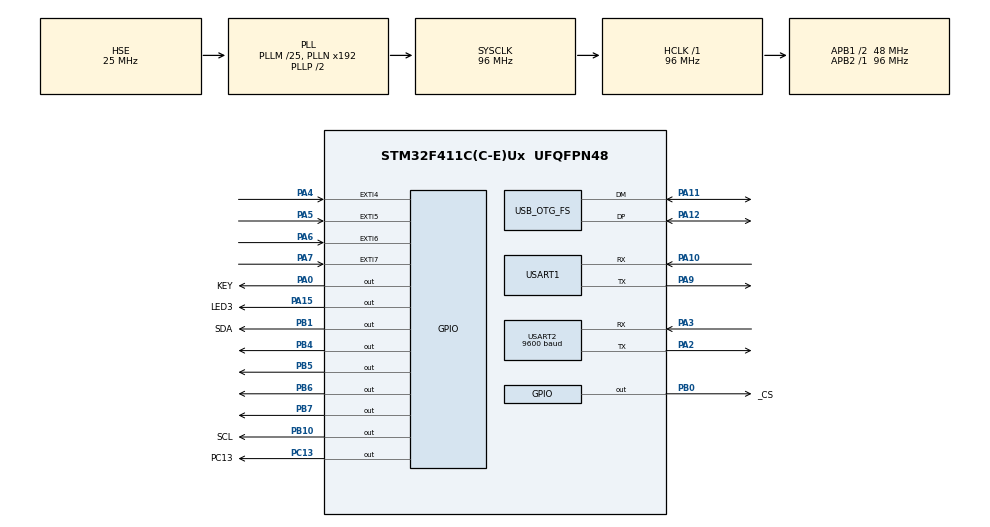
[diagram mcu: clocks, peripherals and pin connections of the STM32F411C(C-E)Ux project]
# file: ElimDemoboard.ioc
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Mcu.Family=STM32F4
PB10.PinState=GPIO_PIN_SET
USB_DEVICE.CLASS_NAME_FS=CDC
RCC.CortexFreq_Value=96000000
PB10.GPIO_Speed=GPIO_SPEED_FREQ_HIGH
PA11.Mode=Device_Only
PB0.GPIO_Label=_CS
RCC.SYSCLKSource=RCC_SYSCLKSOURCE_PLLCLK
ProjectManager.StackSize=0x400
PA15.GPIO_Label=LED3
PB10.GPIO_ModeDefaultOutputPP=GPIO_MODE_OUTPUT_OD
PA12.Signal=USB_OTG_FS_DP
PH0\ -\ OSC_IN.Signal=RCC_OSC_IN
PB0.PinState=GPIO_PIN_SET
RCC.HCLKFreq_Value=96000000
RCC.APB2TimFreq_Value=96000000
PB6.Signal=GPIO_Output
RCC.AHBFreq_Value=96000000
RCC.HSE_VALUE=25000000
PA4.GPIO_PuPd=GPIO_PULLUP
PC13-ANTI_TAMP.Signal=GPIO_Output
USART2.OverSampling=UART_OVERSAMPLING_16
PA6.GPIO_PuPd=GPIO_PULLUP
PC14-OSC32_IN.Mode=LSE-External-Oscillator
PB1.GPIO_Speed=GPIO_SPEED_FREQ_HIGH
PA14.Mode=Serial_Wire
VP_SYS_VS_tim1.Mode=TIM1
PA5.GPIO_PuPd=GPIO_PULLUP
PB1.GPIO_Label=SDA
NVIC.TIM2_IRQn=true\:0\:0\:false\:false\:true\:true\:true
PB7.Signal=GPIO_Output
PB1.PinState=GPIO_PIN_SET
Mcu.Package=UFQFPN48
TIM2.Prescaler=999
PB1.Signal=GPIO_Output
PA6.Signal=GPXTI6
NVIC.TimeBase=TIM1_UP_TIM10_IRQn
USART2.VirtualMode=VM_ASYNC
NVIC.OTG_FS_IRQn=true\:0\:0\:false\:false\:true\:false\:true
NVIC.TimeBaseIP=TIM1
PA10.Signal=USART1_RX
USB_OTG_FS.VirtualMode=Device_Only
PA15.Signal=GPIO_Output
USART2.WordLength=WORDLENGTH_8B
RCC.APB1TimFreq_Value=96000000
PB0.GPIO_ModeDefaultOutputPP=GPIO_MODE_OUTPUT_OD
PB4.Signal=GPIO_Output
PA3.Signal=USART2_RX
PC15-OSC32_OUT.Mode=LSE-External-Oscillator
PA0-WKUP.GPIO_ModeDefaultOutputPP=GPIO_MODE_OUTPUT_OD
NVIC.EXTI4_IRQn=true\:0\:0\:false\:false\:true\:true\:true
PA5.GPIO_ModeDefaultEXTI=GPIO_MODE_IT_RISING_FALLING
PA6.GPIO_ModeDefaultEXTI=GPIO_MODE_IT_RISING_FALLING
PA10.Mode=Asynchronous
USB_DEVICE.VirtualModeFS=Cdc_FS
PC13-ANTI_TAMP.GPIO_Label=PC13
PH1\ -\ OSC_OUT.Mode=HSE-External-Oscillator
PA7.GPIO_ModeDefaultEXTI=GPIO_MODE_IT_RISING_FALLING
RCC.APB1CLKDivider=RCC_HCLK_DIV2
PC14-OSC32_IN.Signal=RCC_OSC32_IN
NVIC.USART2_IRQn=true\:0\:0\:false\:false\:true\:true\:true
USART2.BaudRate=9600
PA0-WKUP.GPIO_Label=KEY
PA0-WKUP.Signal=GPIO_Output
PA3.Mode=Asynchronous
PA13.Signal=SYS_JTMS-SWDIO
PA9.Mode=Asynchronous
PH0\ -\ OSC_IN.Mode=HSE-External-Oscillator
ProjectManager.TargetToolchain=MDK-ARM V5
USB_DEVICE.PRODUCT_STRING_CDC_FS=ElimCaliBoard
PB10.GPIO_Label=SCL
VP_USB_DEVICE_VS_USB_DEVICE_CDC_FS.Mode=CDC_FS
PA9.Signal=USART1_TX
PA4.GPIO_ModeDefaultEXTI=GPIO_MODE_IT_RISING_FALLING
PC15-OSC32_OUT.Signal=RCC_OSC32_OUT
PA7.GPIO_PuPd=GPIO_PULLUP
PB10.Signal=GPIO_Output
PA5.Signal=GPXTI5
PH1\ -\ OSC_OUT.Signal=RCC_OSC_OUT
board=custom
RCC.VCOOutputFreq_Value=192000000
PA0-WKUP.PinState=GPIO_PIN_SET
RCC.APB2Freq_Value=96000000
VP_TIM2_VS_ClockSourceINT.Mode=Internal
TIM2.Period=1999
PA13.Mode=Serial_Wire
Mcu.Name=STM32F411C(C-E)Ux
PA2.Signal=USART2_TX
RCC.48MHZClocksFreq_Value=48000000
PA4.Signal=GPXTI4
RCC.SYSCLKFreq_VALUE=96000000
PB5.Signal=GPIO_Output
PA12.Mode=Device_Only
USART1.VirtualMode=VM_ASYNC
PA11.Signal=USB_OTG_FS_DM
NVIC.EXTI9_5_IRQn=true\:0\:0\:false\:false\:true\:true\:true
PA14.Signal=SYS_JTCK-SWCLK
ProjectManager.HeapSize=0x400
NVIC.TIM1_UP_TIM10_IRQn=true\:0\:0\:false\:false\:true\:false\:true
RCC.HSI_VALUE=16000000
NVIC.PriorityGroup=NVIC_PRIORITYGROUP_4
RCC.PLLM=25
PA2.Mode=Asynchronous
PA0-WKUP.GPIO_PuPd=GPIO_PULLUP
PB1.GPIO_ModeDefaultOutputPP=GPIO_MODE_OUTPUT_OD
RCC.APB1Freq_Value=48000000
USART2.Mode=MODE_TX_RX
PB0.Signal=GPIO_Output
USB_DEVICE.VirtualMode=Cdc
PA7.Signal=GPXTI7

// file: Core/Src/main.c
/* USER CODE BEGIN Header */
/**
  ******************************************************************************
  * @file           : main.c
  * @brief          : Main program body
  ******************************************************************************
  * @attention
  *
  * <h2><center>&copy; Copyright (c) 2020 STMicroelectronics.
  * All rights reserved.</center></h2>
  *
  * This software component is licensed by ST under Ultimate Liberty license
  * SLA0044, the "License"; You may not use this file except in compliance with
  * the License. You may obtain a copy of the License at:
  *                             www.st.com/SLA0044
  *
  ******************************************************************************
  */
/* USER CODE END Header */
#include "main.h"
#include "usb_device.h"

/* USER CODE BEGIN Includes */
#include "usbd_cdc_if.h"
#include "command.h"
#include "iic.h"

/* USER CODE END Includes */

/* USER CODE BEGIN PTD */
#define USB_DATA_BUFFER_SIZE    123

typedef enum {
    ELIM_ERR_NONE = IIC_ERR_NONE,
    ELIM_ERR_NO_ACK = IIC_ERR_NO_ACK,
    ELIM_ERR_OVER_LOAD = IIC_ERR_OVER_LOAD,
    ELIM_ERR_TIMEOUT = (uint16_t) (-3),
    ELIM_ERR_BUSY = (uint16_t) (-4),
} ELIMError;

typedef struct {
    uint16_t        code;
    uint8_t         data[7];
} IicResult;

/* USER CODE END PTD */

/* USER CODE BEGIN PD */
#define RESP_ERR_NO_ACK         response_error("no ACK error")
#define RESP_ERR_OVER_LOAD      response_error("power over load error")
#define RESP_ERR_TIMEOUT        resp_err_timeout()
#define RESP_ERR_BUSY           response_error("busy")
#define RETRY                   80

#define TURN_ON_D2_RED          HAL_GPIO_WritePin(GPIOB, GPIO_PIN_4, GPIO_PIN_RESET)
#define TURN_ON_D3_GREEN        HAL_GPIO_WritePin(GPIOB, GPIO_PIN_7, GPIO_PIN_RESET)
#define TURN_ON_D4_BLUE         HAL_GPIO_WritePin(GPIOB, GPIO_PIN_5, GPIO_PIN_RESET)
#define TURN_ON_D5_ORANGE       HAL_GPIO_WritePin(GPIOB, GPIO_PIN_6, GPIO_PIN_RESET)
#define TURN_ON_PC13            HAL_GPIO_WritePin(GPIOC, GPIO_PIN_13, GPIO_PIN_RESET)

#define TURN_OFF_D2_RED          HAL_GPIO_WritePin(GPIOB, GPIO_PIN_4, GPIO_PIN_SET)
#define TURN_OFF_D3_GREEN        HAL_GPIO_WritePin(GPIOB, GPIO_PIN_7, GPIO_PIN_SET)
#define TURN_OFF_D4_BLUE         HAL_GPIO_WritePin(GPIOB, GPIO_PIN_5, GPIO_PIN_SET)
#define TURN_OFF_D5_ORANGE       HAL_GPIO_WritePin(GPIOB, GPIO_PIN_6, GPIO_PIN_SET)
#define TURN_OFF_PC13            HAL_GPIO_WritePin(GPIOC, GPIO_PIN_13, GPIO_PIN_SET)

/* USER CODE END PD */

TIM_HandleTypeDef htim2;

UART_HandleTypeDef huart1;
UART_HandleTypeDef huart2;

/* USER CODE BEGIN PV */

uint8_t elim_addr = 0x5E;
IicHandle iic;
uint8_t sensor_status;
static __IO uint8_t evt_usb = 0;
static __IO uint32_t elim_deactive_clk = 0;
uint8_t led_off_count =0;
/* USER CODE END PV */

void SystemClock_Config(void);
static void MX_GPIO_Init(void);
static void MX_USART1_UART_Init(void);
static void MX_USART2_UART_Init(void);
static void MX_TIM2_Init(void);

/* USER CODE BEGIN 0 */
int fputc(int ch, FILE *f)
{
    /* Place your implementation of fputc here */
    /*  */
    HAL_UART_Transmit(&huart1, (uint8_t *) &ch, 1, 0xFFFF);

    return ch;
}

void active_elim()
{
    elim_deactive_clk = HAL_GetTick() + 5000;
    HAL_GPIO_WritePin(_CS_GPIO_Port, _CS_Pin, GPIO_PIN_RESET);

    HAL_Delay(5);
}

void deactive_elim()
{
    uint32_t t = HAL_GetTick();

    if (elim_deactive_clk && t > elim_deactive_clk) {
        elim_deactive_clk = 0;
        HAL_GPIO_WritePin(_CS_GPIO_Port, _CS_Pin, GPIO_PIN_SET);
    }
}

__STATIC_INLINE void transmit_resp(uint8_t * data, uint16_t bytes)
{
    uint32_t clk = HAL_GetTick() + 500;
    while(HAL_GetTick() < clk){
        if(CDC_Transmit_FS(data, bytes) == USBD_OK){
            break;
        }
    }
}

void response_data(uint8_t * data, uint16_t size)
{
    uint8_t buf[32];
    uint8_t bytes = 0;
;

    sprintf((char *) buf, "$%d\r\n", size);
    bytes = strlen((char *)buf);

    memcpy(buf + bytes, data, size);
    bytes += size;

    strcpy((char *)buf + bytes, "\r\n");
    bytes += 2;
    transmit_resp(buf, bytes);
}

void response_ok()
{
    transmit_resp((uint8_t *) "+ok\r\n", 5);
}

void response_error(char * what)
{
    char resp[64];

    sprintf(resp, "-%s\r\n", what);
    transmit_resp((uint8_t *) resp, strlen(resp));
}

__STATIC_INLINE void resp_err_timeout()
{
    char err_text[32];

    sprintf(err_text, "timeout, status:%02X", sensor_status);
    response_error(err_text);
}

uint32_t text_2_number(uint8_t * text)
{
    uint32_t val = 0;

    for (; *text; text++) {
        if (*text >= '1' && *text <= '9') {
            val = val * 10 + *text - '1' + 1;
        }
        else if (*text == '0') {
            if (val == 0) {
                return 0;
            }
            else {
                val = val * 10;
            }
        }
        else {
            return 0;
        }
    }

    return val;
}

__STATIC_INLINE uint16_t elim_read_status(IicHandle * hi2c)
{

    return iic_read(elim_addr | 0x01, &sensor_status, 1, hi2c);
}

static uint8_t elim_wait_ready(IicHandle * hi2c)
{
    uint8_t ret = 0;
    int i = 0;

    while (1) {
        ret = elim_read_status(hi2c);

        if (ret == IIC_ERR_NONE && (sensor_status & 0x01) == 0) {
            // busy bit is cleared, chip is ready
            printf("check status:%d\r\n", sensor_status);
            break;
        }

        i++;

        if (i > RETRY) {
            ret = 1;
            break;
        }
        else
            // delay_us(250);
            HAL_Delay(50);
    }

    return ret;
}

ELIMError elim_reset()
{
    uint8_t cmd[3] = {
        0x00, 0x00, 0x00
    };
    uint16_t iic_err = IIC_ERR_NONE;

#if 0
    HAL_GPIO_WritePin(_CS_GPIO_Port, _CS_Pin, GPIO_PIN_RESET);
    HAL_Delay(5);
    HAL_GPIO_WritePin(ELIM_VDD_GPIO_Port, ELIM_VDD_Pin, GPIO_PIN_SET);
    HAL_Delay(1);

    if (elim_mode == ELIM_MODE_CM) {
        cmd[0] = 0xA9;
    }

    // execute START_CM or read reg 00
    // find out the address of the chip
    for (uint8_t addr = 0; addr < 128; addr++) {
        iic_err = iic_write(addr << 1, cmd, 3, (void *) &hi2c1);

        if (iic_err == IIC_ERR_NO_ACK) {
            continue;
        }

        if (iic_err == IIC_ERR_NONE) {
            printf("chip addr is:%x\r\n", addr);
            elim_addr = addr << 1;

            if (elim_wait_ready(&hi2c1)) {
                return ELIM_ERR_TIMEOUT;
            }

            return ELIM_ERR_NONE;
        }

    }

    sensor_status = 0x9D;                           // 0b10011101 0: Not powered on; 0: not busy; 11: unknonw mode; 1: memory error; 0: sm config 1; 1: ALU saturation
#endif

    return ELIM_ERR_NONE;
}

int validate_raw_response(IicResult * result)
{
    char buf[32];
    char * p = buf;
    int val = 0;
    int sum = 0;

    for (uint8_t i = 1; i < 5; i++) {
        sum += result->data[i];
        val = (val << 8) | result->data[i];
        sprintf(p, "%02X ", result->data[i]);
        p   += 3;

    }

    sum = sum & 0xFF;

    printf("status:%d, data:%s, val:%d, checksum:%d %d\r\n", result->data[0], buf, val, result->data[5], sum);

    return (result->data[0] == 0) && (sum == result->data[5]);
}

void execute_iic(uint8_t * params, uint8_t param_bytes, uint8_t bytes_want, IicResult * result)
{
    uint16_t iic_err = IIC_ERR_NONE;

    active_elim();
    TURN_ON_D5_ORANGE;

    result->code = 0;

    if (params[0] == 0xFF) {
        // chip reset request
        iic_err = elim_reset();
        result->data[0] = sensor_status;
    }
    else {
        // execute iic read/write
        iic_err = iic_write(elim_addr, params, param_bytes, (void *) &iic);

        if (bytes_want) {
            if (iic_err == IIC_ERR_NONE) {
                if (elim_wait_ready(&iic)) {
                    iic_err = ELIM_ERR_TIMEOUT;
                }
                else {
                    iic_err = iic_read(elim_addr | 1, result->data, bytes_want, (void *) &iic);
                }
            }
        }
    }
    TURN_OFF_D5_ORANGE;

    result->code = iic_err;
}

// read_MTP
void read_user_data()
{
    if (getCommandFieldsCount() == 2 && FieldBytes(1) == 1) {
        IicResult result;
        uint8_t * p = getCommandField(1);
        uint8_t i=0;

        do {
            execute_iic(p, 0x01, 6, &result);
        }
        while(!validate_raw_response(&result) && i++ < 50);

        switch (result.code)
        {
            case ELIM_ERR_NONE:
                response_data(result.data, 6);
                break;

            case ELIM_ERR_NO_ACK:
                RESP_ERR_NO_ACK;
                break;

            case IIC_ERR_OVER_LOAD:
                RESP_ERR_OVER_LOAD;
                break;

            case ELIM_ERR_TIMEOUT:
                RESP_ERR_TIMEOUT;
                break;

            case ELIM_ERR_BUSY:
                RESP_ERR_BUSY;
                break;

            default:
                break;
        }
    }
    else {
        response_error("read user data");
    }
}

// write_MTP
void write_user_data()
{
    if (getCommandFieldsCount() == 2 && FieldBytes(1) == 5) {
        IicResult result;
        uint8_t * p = getCommandField(1);

        printf("write user data:");

        for (uint8_t k = 0; k < 5; k++) {
            printf(" %02x", p[k]);
        }

        printf("\r\n");

        execute_iic(p, 5, 1, &result);

        switch (result.code)
        {
            case ELIM_ERR_NONE:
                response_data(result.data, 1);
                break;

            case ELIM_ERR_NO_ACK:
                RESP_ERR_NO_ACK;
                break;

            case IIC_ERR_OVER_LOAD:
                RESP_ERR_OVER_LOAD;
                break;

            case ELIM_ERR_TIMEOUT:
                RESP_ERR_TIMEOUT;
                break;

            case ELIM_ERR_BUSY:
                RESP_ERR_BUSY;
                break;

            default:
                break;
        }
    }
    else {
        response_error("write user data");
    }
}

void firmware()
{
    if (getCommandFieldsCount() == 1) {
        const char * p = "DemoBoard, ver 0.4, build 0811-1423";

        response_data((uint8_t *) p, strlen(p));
    }
    else {
        response_error("firmware");
    }
}

void NotifyUsbCommandEvent(void)
{
    evt_usb = 1;
}

/* USER CODE END 0 */

int main(void)
{
  /* USER CODE BEGIN 1 */
    uint32_t blink = HAL_GetTick() + 250;

  /* USER CODE END 1 */

  /* MCU Configuration--------------------------------------------------------*/

  /* Reset of all peripherals, Initializes the Flash interface and the Systick. */
  HAL_Init();

  /* Configure the system clock */
  SystemClock_Config();

  /* Initialize all configured peripherals */
  MX_GPIO_Init();
  MX_USB_DEVICE_Init();
  MX_USART1_UART_Init();
  MX_USART2_UART_Init();
  MX_TIM2_Init();
  /* USER CODE BEGIN 2 */
  TURN_OFF_D4_BLUE;
  TURN_OFF_D2_RED;
  TURN_OFF_D5_ORANGE;
  TURN_OFF_PC13;
  HAL_TIM_Base_Start_IT(&htim2);

    iic.scl_pin = SCL_Pin;
    iic.scl_port = SCL_GPIO_Port;
    iic.sda_pin = GPIO_PIN_1;
    iic.sda_port = SDA_GPIO_Port;

  /* USER CODE END 2 */

  /* Infinite loop */
  /* USER CODE BEGIN WHILE */
    while (1) {
        if (evt_usb) {
            printf("usb evt\r\n");
            evt_usb = 0;

            if (haveUsbData()) {
                updateCommandBuffer();

                while (parseCommand() == WITH_COMMAND) {
                    printf("recv cmd: %s\r\n", getCommandField(0));
                    TURN_ON_PC13;

                    if (isCommand((uint8_t *) "firmware")) {
                        firmware();
                    }

                    if (isCommand((uint8_t *) "read user data")) {
                        read_user_data();
                    }
                    else if (isCommand((uint8_t *) "write user data")) {
                        write_user_data();
                    }

                    consumeCommand();
                }
                led_off_count = 2;
            }
        }

        deactive_elim();

        if (HAL_GetTick() > blink) {
            blink = HAL_GetTick() + 250;
        }

    /* USER CODE END WHILE */

    }
}

void SystemClock_Config(void)
{
  RCC_OscInitTypeDef RCC_OscInitStruct = {0};
  RCC_ClkInitTypeDef RCC_ClkInitStruct = {0};

  /** Configure the main internal regulator output voltage
  */
  __HAL_RCC_PWR_CLK_ENABLE();
  __HAL_PWR_VOLTAGESCALING_CONFIG(PWR_REGULATOR_VOLTAGE_SCALE1);
  /** Initializes the RCC Oscillators according to the specified parameters
  * in the RCC_OscInitTypeDef structure.
  */
  RCC_OscInitStruct.OscillatorType = RCC_OSCILLATORTYPE_HSE;
  RCC_OscInitStruct.HSEState = RCC_HSE_ON;
  RCC_OscInitStruct.PLL.PLLState = RCC_PLL_ON;
  RCC_OscInitStruct.PLL.PLLSource = RCC_PLLSOURCE_HSE;
  RCC_OscInitStruct.PLL.PLLM = 25;
  RCC_OscInitStruct.PLL.PLLN = 192;
  RCC_OscInitStruct.PLL.PLLP = RCC_PLLP_DIV2;
  RCC_OscInitStruct.PLL.PLLQ = 4;
  if (HAL_RCC_OscConfig(&RCC_OscInitStruct) != HAL_OK)
  {
    Error_Handler();
  }
  /** Initializes the CPU, AHB and APB buses clocks
  */
  RCC_ClkInitStruct.ClockType = RCC_CLOCKTYPE_HCLK|RCC_CLOCKTYPE_SYSCLK
                              |RCC_CLOCKTYPE_PCLK1|RCC_CLOCKTYPE_PCLK2;
  RCC_ClkInitStruct.SYSCLKSource = RCC_SYSCLKSOURCE_PLLCLK;
  RCC_ClkInitStruct.AHBCLKDivider = RCC_SYSCLK_DIV1;
  RCC_ClkInitStruct.APB1CLKDivider = RCC_HCLK_DIV2;
  RCC_ClkInitStruct.APB2CLKDivider = RCC_HCLK_DIV1;

  if (HAL_RCC_ClockConfig(&RCC_ClkInitStruct, FLASH_LATENCY_3) != HAL_OK)
  {
    Error_Handler();
  }
}

static void MX_TIM2_Init(void)
{

  TIM_ClockConfigTypeDef sClockSourceConfig = {0};
  TIM_MasterConfigTypeDef sMasterConfig = {0};

  htim2.Instance = TIM2;
  htim2.Init.Prescaler = 999;
  htim2.Init.CounterMode = TIM_COUNTERMODE_UP;
  htim2.Init.Period = 1999;
  htim2.Init.ClockDivision = TIM_CLOCKDIVISION_DIV1;
  htim2.Init.AutoReloadPreload = TIM_AUTORELOAD_PRELOAD_DISABLE;
  if (HAL_TIM_Base_Init(&htim2) != HAL_OK)
  {
    Error_Handler();
  }
  sClockSourceConfig.ClockSource = TIM_CLOCKSOURCE_INTERNAL;
  if (HAL_TIM_ConfigClockSource(&htim2, &sClockSourceConfig) != HAL_OK)
  {
    Error_Handler();
  }
  sMasterConfig.MasterOutputTrigger = TIM_TRGO_RESET;
  sMasterConfig.MasterSlaveMode = TIM_MASTERSLAVEMODE_DISABLE;
  if (HAL_TIMEx_MasterConfigSynchronization(&htim2, &sMasterConfig) != HAL_OK)
  {
    Error_Handler();
  }

}

static void MX_USART1_UART_Init(void)
{

  huart1.Instance = USART1;
  huart1.Init.BaudRate = 115200;
  huart1.Init.WordLength = UART_WORDLENGTH_8B;
  huart1.Init.StopBits = UART_STOPBITS_1;
  huart1.Init.Parity = UART_PARITY_NONE;
  huart1.Init.Mode = UART_MODE_TX_RX;
  huart1.Init.HwFlowCtl = UART_HWCONTROL_NONE;
  huart1.Init.OverSampling = UART_OVERSAMPLING_16;
  if (HAL_UART_Init(&huart1) != HAL_OK)
  {
    Error_Handler();
  }

}

static void MX_USART2_UART_Init(void)
{

  huart2.Instance = USART2;
  huart2.Init.BaudRate = 9600;
  huart2.Init.WordLength = UART_WORDLENGTH_8B;
  huart2.Init.StopBits = UART_STOPBITS_1;
  huart2.Init.Parity = UART_PARITY_NONE;
  huart2.Init.Mode = UART_MODE_TX_RX;
  huart2.Init.HwFlowCtl = UART_HWCONTROL_NONE;
  huart2.Init.OverSampling = UART_OVERSAMPLING_16;
  if (HAL_UART_Init(&huart2) != HAL_OK)
  {
    Error_Handler();
  }

}

static void MX_GPIO_Init(void)
{
  GPIO_InitTypeDef GPIO_InitStruct = {0};

  /* GPIO Ports Clock Enable */
  __HAL_RCC_GPIOC_CLK_ENABLE();
  __HAL_RCC_GPIOH_CLK_ENABLE();
  __HAL_RCC_GPIOA_CLK_ENABLE();
  __HAL_RCC_GPIOB_CLK_ENABLE();

  /*Configure GPIO pin Output Level */
  HAL_GPIO_WritePin(PC13_GPIO_Port, PC13_Pin, GPIO_PIN_RESET);

  /*Configure GPIO pin Output Level */
  HAL_GPIO_WritePin(KEY_GPIO_Port, KEY_Pin, GPIO_PIN_SET);

  /*Configure GPIO pin Output Level */
  HAL_GPIO_WritePin(GPIOB, _CS_Pin|SDA_Pin|SCL_Pin, GPIO_PIN_SET);

  /*Configure GPIO pin Output Level */
  HAL_GPIO_WritePin(LED3_GPIO_Port, LED3_Pin, GPIO_PIN_RESET);

  /*Configure GPIO pin Output Level */
  HAL_GPIO_WritePin(GPIOB, GPIO_PIN_4|GPIO_PIN_5|GPIO_PIN_6|GPIO_PIN_7, GPIO_PIN_RESET);

  /*Configure GPIO pin : PC13_Pin */
  GPIO_InitStruct.Pin = PC13_Pin;
  GPIO_InitStruct.Mode = GPIO_MODE_OUTPUT_PP;
  GPIO_InitStruct.Pull = GPIO_NOPULL;
  GPIO_InitStruct.Speed = GPIO_SPEED_FREQ_LOW;
  HAL_GPIO_Init(PC13_GPIO_Port, &GPIO_InitStruct);

  /*Configure GPIO pin : KEY_Pin */
  GPIO_InitStruct.Pin = KEY_Pin;
  GPIO_InitStruct.Mode = GPIO_MODE_OUTPUT_OD;
  GPIO_InitStruct.Pull = GPIO_PULLUP;
  GPIO_InitStruct.Speed = GPIO_SPEED_FREQ_LOW;
  HAL_GPIO_Init(KEY_GPIO_Port, &GPIO_InitStruct);

  /*Configure GPIO pins : PA1 PA8 */
  GPIO_InitStruct.Pin = GPIO_PIN_1|GPIO_PIN_8;
  GPIO_InitStruct.Mode = GPIO_MODE_ANALOG;
  GPIO_InitStruct.Pull = GPIO_NOPULL;
  HAL_GPIO_Init(GPIOA, &GPIO_InitStruct);

  /*Configure GPIO pins : PA4 PA5 PA6 PA7 */
  GPIO_InitStruct.Pin = GPIO_PIN_4|GPIO_PIN_5|GPIO_PIN_6|GPIO_PIN_7;
  GPIO_InitStruct.Mode = GPIO_MODE_IT_RISING_FALLING;
  GPIO_InitStruct.Pull = GPIO_PULLUP;
  HAL_GPIO_Init(GPIOA, &GPIO_InitStruct);

  /*Configure GPIO pin : _CS_Pin */
  GPIO_InitStruct.Pin = _CS_Pin;
  GPIO_InitStruct.Mode = GPIO_MODE_OUTPUT_OD;
  GPIO_InitStruct.Pull = GPIO_NOPULL;
  GPIO_InitStruct.Speed = GPIO_SPEED_FREQ_LOW;
  HAL_GPIO_Init(_CS_GPIO_Port, &GPIO_InitStruct);

  /*Configure GPIO pins : SDA_Pin SCL_Pin */
  GPIO_InitStruct.Pin = SDA_Pin|SCL_Pin;
  GPIO_InitStruct.Mode = GPIO_MODE_OUTPUT_OD;
  GPIO_InitStruct.Pull = GPIO_NOPULL;
  GPIO_InitStruct.Speed = GPIO_SPEED_FREQ_HIGH;
  HAL_GPIO_Init(GPIOB, &GPIO_InitStruct);

  /*Configure GPIO pins : PB2 PB12 PB13 PB14
                           PB15 PB3 PB8 PB9 */
  GPIO_InitStruct.Pin = GPIO_PIN_2|GPIO_PIN_12|GPIO_PIN_13|GPIO_PIN_14
                          |GPIO_PIN_15|GPIO_PIN_3|GPIO_PIN_8|GPIO_PIN_9;
  GPIO_InitStruct.Mode = GPIO_MODE_ANALOG;
  GPIO_InitStruct.Pull = GPIO_NOPULL;
  HAL_GPIO_Init(GPIOB, &GPIO_InitStruct);

  /*Configure GPIO pin : LED3_Pin */
  GPIO_InitStruct.Pin = LED3_Pin;
  GPIO_InitStruct.Mode = GPIO_MODE_OUTPUT_PP;
  GPIO_InitStruct.Pull = GPIO_NOPULL;
  GPIO_InitStruct.Speed = GPIO_SPEED_FREQ_LOW;
  HAL_GPIO_Init(LED3_GPIO_Port, &GPIO_InitStruct);

  /*Configure GPIO pins : PB4 PB5 PB6 PB7 */
  GPIO_InitStruct.Pin = GPIO_PIN_4|GPIO_PIN_5|GPIO_PIN_6|GPIO_PIN_7;
  GPIO_InitStruct.Mode = GPIO_MODE_OUTPUT_PP;
  GPIO_InitStruct.Pull = GPIO_NOPULL;
  GPIO_InitStruct.Speed = GPIO_SPEED_FREQ_LOW;
  HAL_GPIO_Init(GPIOB, &GPIO_InitStruct);

  /* EXTI interrupt init*/
  HAL_NVIC_SetPriority(EXTI4_IRQn, 0, 0);
  HAL_NVIC_EnableIRQ(EXTI4_IRQn);

  HAL_NVIC_SetPriority(EXTI9_5_IRQn, 0, 0);
  HAL_NVIC_EnableIRQ(EXTI9_5_IRQn);

}

/* USER CODE BEGIN 4 */
/**
  * @brief  Rx Transfer completed callbacks.
  * @param  huart  Pointer to a UART_HandleTypeDef structure that contains
  *                the configuration information for the specified UART module.
  * @retval None
  */
void HAL_UART_RxCpltCallback(UART_HandleTypeDef * huart)
{

}

/**
  * @brief  EXTI line detection callbacks.
  * @param  GPIO_Pin: Specifies the pins connected EXTI line
  * @retval None
  */
void HAL_GPIO_EXTI_Callback(uint16_t GPIO_Pin)
{
}

/* USER CODE END 4 */

 /**
  * @brief  Period elapsed callback in non blocking mode
  * @note   This function is called  when TIM1 interrupt took place, inside
  * HAL_TIM_IRQHandler(). It makes a direct call to HAL_IncTick() to increment
  * a global variable "uwTick" used as application time base.
  * @param  htim : TIM handle
  * @retval None
  */
void HAL_TIM_PeriodElapsedCallback(TIM_HandleTypeDef *htim)
{
  if (htim->Instance == TIM1) {
    HAL_IncTick();
  }
  /* USER CODE BEGIN Callback 1 */
    if (htim->Instance == TIM2) {
        if( led_off_count ){
            led_off_count--;
            if( led_off_count == 0 ){
            TURN_OFF_PC13;
            }
        }
        // HAL_GPIO_TogglePin(LED3_GPIO_Port, LED3_Pin);
        // RESP_ERR_OVER_LOAD;
        // HAL_GPIO_TogglePin(GPIOB, GPIO_PIN_4);
    }

  /* USER CODE END Callback 1 */
}

void Error_Handler(void)
{
}

/************************ (C) COPYRIGHT STMicroelectronics *****END OF FILE****/
